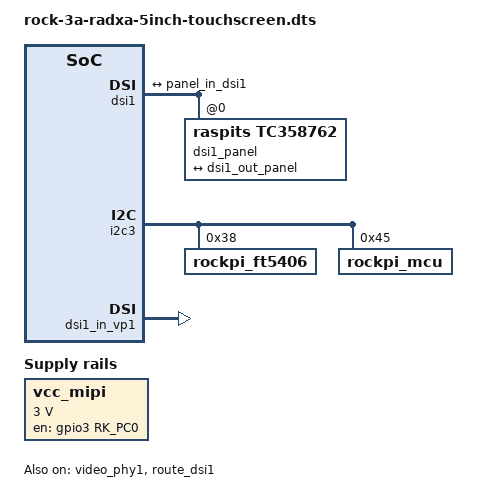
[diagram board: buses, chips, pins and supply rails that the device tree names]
/dts-v1/;
/plugin/;

#include <dt-bindings/gpio/gpio.h>
#include <dt-bindings/pinctrl/rockchip.h>

/ {
	metadata {
		title = "Enable Radxa 5-inch Touchscreen";
		compatible = "radxa,rock-3a";
		category = "display";
		exclusive = "dsi1";
		description = "Enable Radxa 5-inch Touchscreen.";
	};

	fragment@0 {
		target-path = "/";

		__overlay__ {
			vcc_mipi: vcc-mipi {
				status = "okay";
				compatible = "regulator-fixed";
				regulator-name = "vcc_mipi";
				regulator-boot-on;
				regulator-min-microvolt = <3000000>;
				regulator-max-microvolt = <3000000>;
				enable-active-high;
				regulator-always-on;
				gpio = <&gpio3 RK_PC0 GPIO_ACTIVE_HIGH>;
			};
		};
	};

	fragment@1 {
		target = <&dsi1>;

		__overlay__ {
			status = "okay";
			#address-cells = <1>;
			#size-cells = <0>;

			dsi1_panel: dsi-panel@0 {
				compatible = "raspits,tc358762";
				reg = <0x0>;
				status = "okay";

				ports {
					#address-cells = <1>;
					#size-cells = <0>;

					port@0 {
						reg = <0>;

						panel_in_dsi1: endpoint {
							remote-endpoint = <&dsi1_out_panel>;
						};
					};
				};
			};

			ports {
				#address-cells = <1>;
				#size-cells = <0>;

				port@1 {
					reg = <1>;
					#address-cells = <1>;
					#size-cells = <0>;

					dsi1_out_panel: endpoint@0 {
						reg = <0>;
						remote-endpoint = <&panel_in_dsi1>;
					};
				};
			};
		};
	};

	fragment@2 {
		target = <&i2c3>;

		__overlay__ {
			status = "okay";
			pinctrl-0 = <&i2c3m1_xfer>;
			#address-cells = <1>;
			#size-cells = <0>;

			rockpi_ft5406: rockpi_ft5406@38 {
				compatible = "rockpi_ft5406";
				reg = <0x38>;
			};

			rockpi_mcu: rockpi-mcu@45 {
				compatible = "rockpi_mcu";
				reg = <0x45>;
			};
		};
	};

	fragment@3 {
		target = <&video_phy1>;

		__overlay__ {
			status = "okay";
		};
	};

	fragment@4 {
		target = <&dsi1_in_vp0>;

		__overlay__ {
			status = "disabled";
		};
	};

	fragment@5 {
		target = <&dsi1_in_vp1>;

		__overlay__ {
			status = "okay";
		};
	};

	fragment@6 {
		target = <&route_dsi1>;

		__overlay__ {
			status = "okay";
		};
	};
};
